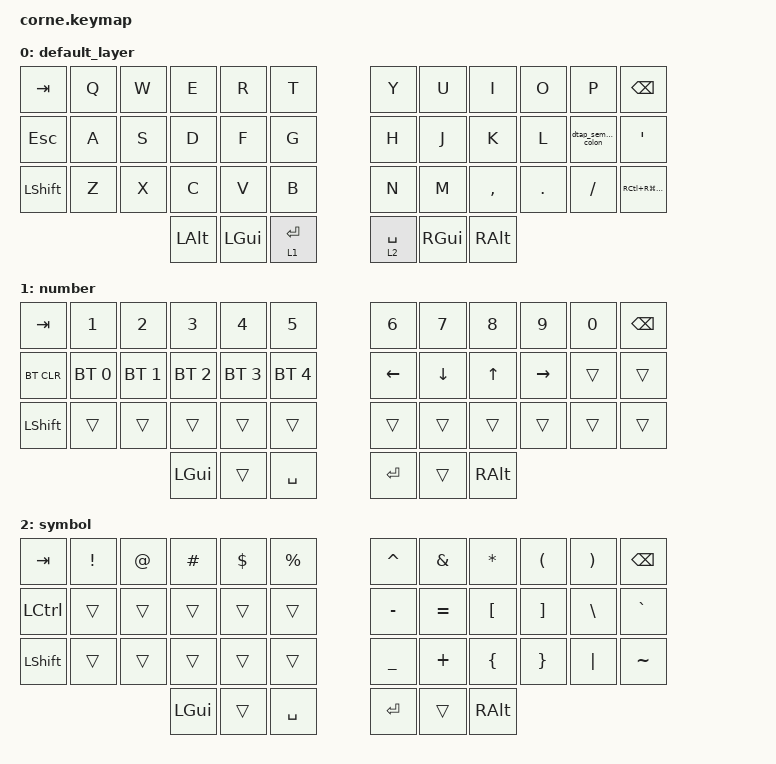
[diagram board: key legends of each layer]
/*
 * Copyright (c) 2020 The ZMK Contributors
 *
 * SPDX-License-Identifier: MIT
 */

#include <behaviors.dtsi>
#include <dt-bindings/zmk/bt.h>
#include <dt-bindings/zmk/keys.h>

/ {
    behaviors {
        dtap_semicolon_colon: dtap_semicolon_colon {
            compatible = "zmk,behavior-tap-dance";
            label = "DTAP_SEMICOLON_COLON";
            #binding-cells = <0>;
            bindings = <&kp SEMICOLON>, <&kp LS(SEMICOLON)>;
        };
    };

    keymap {
        compatible = "zmk,keymap";

        default_layer {
            // -----------------------------------------------------------------------------------------
            // |  TAB |  Q  |  W  |  E  |  R  |  T  |   |  Y  |  U   |  I  |  O  |  P  | BSPC |
            // | CTRL |  A  |  S  |  D  |  F  |  G  |   |  H  |  J   |  K  |  L  |  ;  |  '   |
            // | SHFT |  Z  |  X  |  C  |  V  |  B  |   |  N  |  M   |  ,  |  .  |  /  | ESC  |
            //                    | GUI | LWR | SPC |   | ENT | RSE  | ALT |

            bindings = <
&kp TAB     &kp Q  &kp W  &kp E         &kp R         &kp T          &kp Y        &kp U          &kp I      &kp O    &kp P                  &kp BSPC
&kp ESCAPE  &kp A  &kp S  &kp D         &kp F         &kp G          &kp H        &kp J          &kp K      &kp L    &dtap_semicolon_colon  &kp SQT
&kp LSHFT   &kp Z  &kp X  &kp C         &kp V         &kp B          &kp N        &kp M          &kp COMMA  &kp DOT  &kp FSLH               &kp RC(RG(RA(RIGHT_SHIFT)))
                          &kp LEFT_ALT  &kp LEFT_GUI  &lt 1 ENTER    &lt 2 SPACE  &kp RIGHT_GUI  &kp RALT
            >;
        };

        number {
            // -----------------------------------------------------------------------------------------
            // |  TAB |  1  |  2  |  3  |  4  |  5  |   |  6  |  7  |  8  |  9  |  0  | BSPC |
            // | BTCLR| BT1 | BT2 | BT3 | BT4 | BT5 |   | LFT | DWN |  UP | RGT |     |      |
            // | SHFT |     |     |     |     |     |   |     |     |     |     |     |      |
            //                    | GUI |     | SPC |   | ENT |     | ALT |

            bindings = <
&kp TAB     &kp N1        &kp N2        &kp N3        &kp N4        &kp N5          &kp N6    &kp N7    &kp N8    &kp N9     &kp N0  &kp BSPC
&bt BT_CLR  &bt BT_SEL 0  &bt BT_SEL 1  &bt BT_SEL 2  &bt BT_SEL 3  &bt BT_SEL 4    &kp LEFT  &kp DOWN  &kp UP    &kp RIGHT  &trans  &trans
&kp LSHFT   &trans        &trans        &trans        &trans        &trans          &trans    &trans    &trans    &trans     &trans  &trans
                                        &kp LGUI      &trans        &kp SPACE       &kp RET   &trans    &kp RALT
            >;
        };

        symbol {
            // -----------------------------------------------------------------------------------------
            // |  TAB |  !  |  @  |  #  |  $  |  %  |   |  ^  |  &  |  *  |  (  |  )  | BSPC |
            // | CTRL |     |     |     |     |     |   |  -  |  =  |  [  |  ]  |  \  |  `   |
            // | SHFT |     |     |     |     |     |   |  _  |  +  |  {  |  }  | "|" |  ~   |
            //                    | GUI |     | SPC |   | ENT |     | ALT |

            bindings = <
&kp TAB    &kp EXCL  &kp AT  &kp HASH  &kp DLLR  &kp PRCNT    &kp CARET  &kp AMPS   &kp ASTRK  &kp LPAR  &kp RPAR  &kp BSPC
&kp LCTRL  &trans    &trans  &trans    &trans    &trans       &kp MINUS  &kp EQUAL  &kp LBKT   &kp RBKT  &kp BSLH  &kp GRAVE
&kp LSHFT  &trans    &trans  &trans    &trans    &trans       &kp UNDER  &kp PLUS   &kp LBRC   &kp RBRC  &kp PIPE  &kp TILDE
                             &kp LGUI  &trans    &kp SPACE    &kp RET    &trans     &kp RALT
            >;
        };
    };
};
